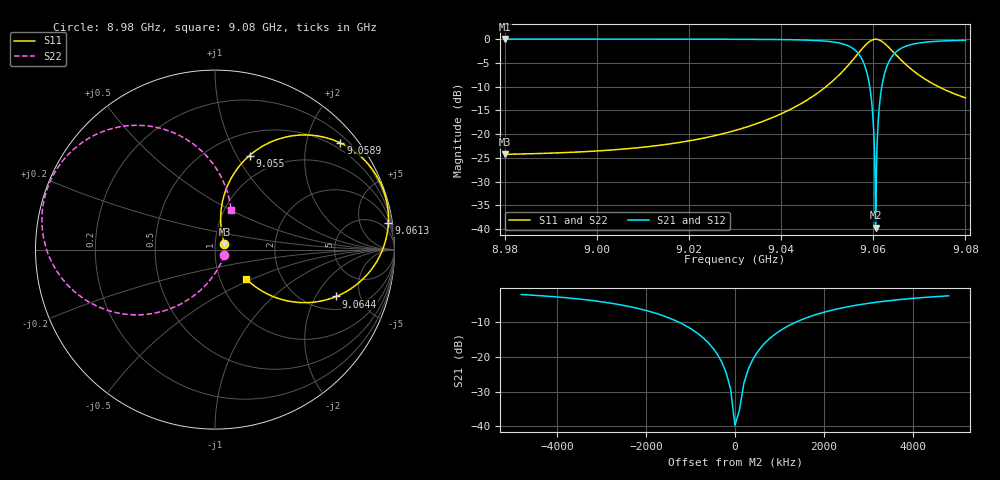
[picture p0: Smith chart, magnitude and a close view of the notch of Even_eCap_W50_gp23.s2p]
! Sonnet Data File
! From: emgraph Version : 16.52
! From Project: Resonator2_extremeCap
! Data is De-embedded
! Data File Written: 10/10/2017 20:29:22
!< HDATE 10/09/2017 23:04:37
!< MDATE 10/09/2017 23:04:37
!< PARAMS
!< Pwid1 = 2000.0
!< Pwid2 = 2000.0
!< Air_gap = 30.0
!< Width = 50.0
!< Gap = 23.0
!< END PARAMS
# GHZ S MA R 51.80000
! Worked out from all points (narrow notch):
!   1001 points, 8.98 GHz to 9.08 GHz, reference 51.8 ohm
!   highest |S21| = -0.02 dB at 8.98 GHz (marker M1); lowest = -39.7 dB at 9.0605 GHz (marker M2)
!   notch at M2: 39.7 dB deep, 809 kHz wide at half that depth
!   lowest |S11| = -24.3 dB at 8.98 GHz (marker M3), VSWR 1.13, Z = 57.5 + j3.55 ohm
!   |S11| at or under -10 dB: start of sweep to 9.0498 GHz; 9.074087 GHz to end of sweep
!   |S22| runs from -24.3 to 0.0 dB; largest |S21 - S12| = 0
!   S11 on the Smith chart (normalised r, x): 8.98 GHz: 1.11, +0.07; 9.055 GHz: 0.74, +1.13; 9.0589 GHz: 0.36, +2.68; 9.0613 GHz: 2, +13; 9.0644 GHz: 2.74, -3.01; 9.08 GHz: 1.33, -0.47
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8.98  0.06112 30.3  0.9981 -90.6  0.9981 -90.6  0.0611 -31.5
!< P1 F=8.98 Eeff=(6.44048327 -2.9689e-5) Z0=(50.406422 1.16291e-4) R=0.0 C=0.0
!< P2 F=8.98 Eeff=(6.44048327 -2.9689e-5) Z0=(50.406422 1.16291e-4) R=0.0 C=0.0
8.9967  0.06495 40.3  0.9979 -91.5  0.9979 -91.5  0.06491 -43.3
9.0134  0.07587 54.0  0.9971 -92.9  0.9971 -92.9  0.07581 -59.9
9.03  0.1089 70.3  0.994 -95.7  0.994 -95.7  0.1088 -81.8
9.0467  0.2458 81.3  0.9689 -104.5  0.9689 -104.5  0.2456 -110.4
9.0516  0.3762 78.5  0.9256 -112.5  0.9256 -112.5  0.3759 -123.8
9.055  0.5583 69.9  0.8276 -124.5  0.8276 -124.5  0.5578 -139.3
9.0572  0.7499 57.1  0.657 -139.2  0.657 -139.2  0.7494 -156.3
9.0589  0.917 40.4  0.3878 -157.2  0.3878 -157.2  0.9164 -176.3
9.0596  0.9677 31.6  0.2325 -166.0  0.2325 -166.0  0.967 173.7
9.0598  0.9779 29.0  0.1844 -168.5  0.1844 -168.5  0.9773 170.7
9.0602  0.9914 23.6  0.08502 -172.4  0.08502 -172.4  0.9907 164.6
9.0605  0.995 19.5  0.01035 -149.5  0.01035 -149.5  0.9943 159.9
9.0609  0.9909 14.0  0.0919 -9.4  0.0919 -9.4  0.9902 153.8
9.0613  0.9772 8.8  0.189 -13.3  0.189 -13.3  0.9765 147.8
9.0616  0.9614 4.9  0.2581 -16.9  0.2581 -16.9  0.9608 143.4
9.0621  0.927 -1.0  0.3638 -23.0  0.3638 -23.0  0.9264 136.6
9.0634  0.8131 -13.8  0.5767 -36.5  0.5767 -36.5  0.8126 121.5
9.0644  0.7242 -21.1  0.686 -44.6  0.686 -44.6  0.7238 112.6
9.0666  0.5661 -31.4  0.8226 -56.6  0.8226 -56.6  0.5658 98.7
9.0696  0.4288 -38.4  0.9025 -65.8  0.9025 -65.8  0.4286 87.1
9.08  0.2403 -43.3  0.9705 -77.6  0.9705 -77.6  0.2402 68.2
